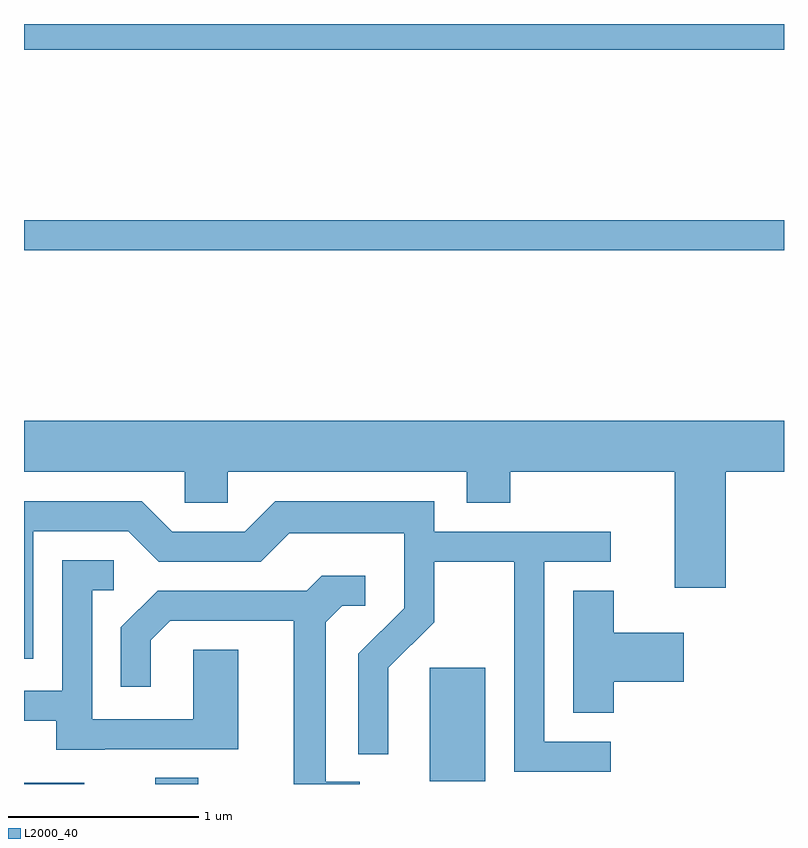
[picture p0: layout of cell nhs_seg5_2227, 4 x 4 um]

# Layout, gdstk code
import gdstk
lib = gdstk.Library(unit=1e-6, precision=1e-09)
def R(c, l, rs):  # rectangles x0, y0, x1, y1
    for r in rs: c.add(gdstk.rectangle(r[:2], r[2:], *l))
def P(c, l, *ps):  # polygons
    for p in ps: c.add(gdstk.Polygon(p, *l))
L2000_40 = (2000, 40)

nhs_seg5_2227 = lib.new_cell('nhs_seg5_2227')
R(nhs_seg5_2227, L2000_40, [(251.611,1424.072,251.928,1424.079), (252.301,1424.072,252.529,1424.104), (253.746,1424.086,254.039,1424.684), (251.611,1426.881,255.611,1427.039), (251.611,1427.936,255.611,1428.072)])
P(nhs_seg5_2227, L2000_40, [(255.304,1425.716),(255.611,1425.716),(255.611,1425.984),(251.611,1425.984),(251.611,1425.716),(252.456,1425.716),(252.456,1425.551),(252.684,1425.551),(252.684,1425.716),(253.941,1425.716),(253.941,1425.551),(254.169,1425.551),(254.169,1425.716),(255.036,1425.716),(255.036,1425.106),(255.304,1425.106)],
  [(254.698,1424.294),(254.349,1424.294),(254.349,1425.241),(254.698,1425.241),(254.698,1425.399),(253.769,1425.399),(253.769,1425.559),(252.934,1425.559),(252.774,1425.399),(252.392,1425.399),(252.232,1425.559),(251.611,1425.559),(251.611,1424.731),(251.659,1424.731),(251.659,1425.401),(252.159,1425.401),(252.319,1425.241),(252.857,1425.241),(253.007,1425.391),(253.611,1425.391),(253.611,1424.997),(253.371,1424.757),(253.371,1424.228),(253.529,1424.228),(253.529,1424.684),(253.769,1424.924),(253.769,1425.241),(254.191,1425.241),(254.191,1424.136),(254.698,1424.136)],
  [(252.035,1424.256),(252.739,1424.256),(252.739,1424.779),(252.501,1424.779),(252.501,1424.414),(251.969,1424.414),(251.969,1425.091),(252.083,1425.091),(252.083,1425.249),(251.811,1425.249),(251.811,1424.564),(251.611,1424.564),(251.611,1424.406),(251.781,1424.406),(251.781,1424.251),(252.035,1424.251)],
  [(253.378,1424.084),(253.199,1424.084),(253.199,1424.924),(253.287,1425.011),(253.408,1425.011),(253.408,1425.169),(253.179,1425.169),(253.099,1425.089),(252.314,1425.089),(252.121,1424.897),(252.121,1424.583),(252.279,1424.583),(252.279,1424.829),(252.382,1424.931),(253.031,1424.931),(253.031,1424.072),(253.378,1424.072)],
  [(254.714,1424.611),(255.084,1424.611),(255.084,1424.869),(254.714,1424.869),(254.714,1425.089),(254.501,1425.089),(254.501,1424.446),(254.714,1424.446)])

lib.write_gds('nhs_seg5_2227.gds')
